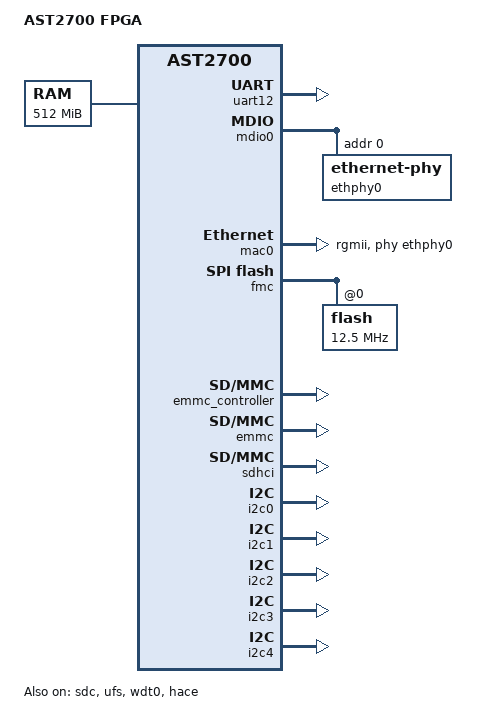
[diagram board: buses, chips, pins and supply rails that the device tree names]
// SPDX-License-Identifier: GPL-2.0+

/dts-v1/;

#include "ast2700.dtsi"
#include "ast2700-u-boot.dtsi"

/ {
	model = "AST2700 FPGA";
	compatible = "aspeed,ast2700-fpga", "aspeed,ast2700";

	memory {
		device_type = "memory";
		reg = <0x4 0x00000000 0x0 0x20000000>;
	};

	chosen {
		stdout-path = &uart12;
	};

	cpus {
		cpu@0 {
			clock-frequency = <24000000>;
		};
		cpu@1 {
			clock-frequency = <24000000>;
		};
		cpu@2 {
			clock-frequency = <24000000>;
		};
		cpu@3 {
			clock-frequency = <24000000>;
		};
	};
};

&uart12 {
	u-boot,dm-pre-reloc;
	status = "okay";
};

&mdio0 {
	status = "okay";
	#address-cells = <1>;
	#size-cells = <0>;
	ethphy0: ethernet-phy@0 {
		reg = <0>;
	};
};

&mac0 {
	status = "okay";
	phy-mode = "rgmii";
	phy-handle = <&ethphy0>;
};

&fmc {
	status = "okay";

	flash@0 {
		status = "okay";
		spi-max-frequency = <12500000>;
		spi-tx-bus-width = <4>;
		spi-rx-bus-width = <4>;
	};

	flash@1 {
		status = "disabled";
		spi-max-frequency = <12500000>;
		spi-tx-bus-width = <4>;
		spi-rx-bus-width = <4>;
	};

	flash@2 {
		status = "disabled";
		spi-max-frequency = <12500000>;
		spi-tx-bus-width = <4>;
		spi-rx-bus-width = <4>;
	};
};

&emmc_controller {
	u-boot,dm-pre-reloc;
	status = "okay";
};

&emmc {
	u-boot,dm-pre-reloc;
	status = "okay";
};

&sdc {
	status = "okay";
};

&sdhci {
	status = "okay";
};

&ufs {
	status = "okay";
};

&i2c0 {
	status = "okay";
};

&i2c1 {
	status = "okay";
};

&i2c2 {
	status = "okay";
};

&i2c3 {
	status = "okay";
};

&i2c4 {
	status = "okay";
};

&wdt0 {
	status = "okay";
};

&hace {
	u-boot,dm-pre-reloc;
	status = "okay";
};
